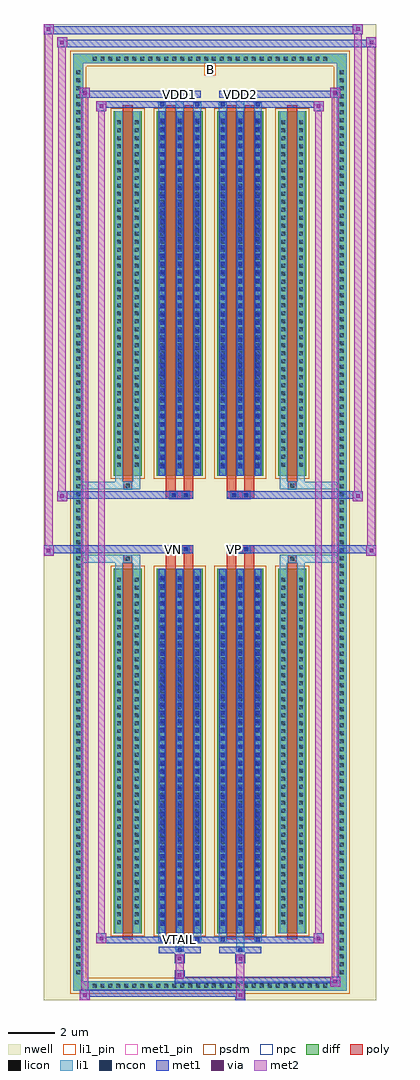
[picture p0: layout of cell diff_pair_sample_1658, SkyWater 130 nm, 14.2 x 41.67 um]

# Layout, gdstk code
import gdstk
lib = gdstk.Library(unit=1e-6, precision=5e-09)
def R(c, l, rs):  # rectangles x0, y0, x1, y1
    for r in rs: c.add(gdstk.rectangle(r[:2], r[2:], *l))
def A(c, l, x, y, w, h, nx, ny, dx, dy):  # array of equal rectangles
    R(c, l, [(x+i*dx, y+j*dy, x+i*dx+w, y+j*dy+h) for i in range(nx) for j in range(ny)])
def P(c, l, *ps):  # polygons
    for p in ps: c.add(gdstk.Polygon(p, *l))
nwell = (64, 20)
diff = (65, 20)
poly = (66, 20)
licon = (66, 44)
li1_pin = (67, 16)
li1 = (67, 20)
mcon = (67, 44)
met1_pin = (68, 16)
met1 = (68, 20)
via = (68, 44)
met2 = (69, 20)
psdm = (94, 20)
npc = (95, 20)

diff_pair_sample_1658 = lib.new_cell('diff_pair_sample_1658')
R(diff_pair_sample_1658, nwell, [(-7.1,-20.4,7.1,21.27), (-4.42,-18.59,-0.01,-0.795), (0.01,-18.59,4.42,-0.795), (-4.42,0.795,-0.01,18.59), (0.01,0.795,4.42,18.59)])
A(diff_pair_sample_1658, diff, -5.135, -20, 0.41, 0.41, 30, 2, 0.34, 39.59)
A(diff_pair_sample_1658, diff, -5.83, -19.415, 0.41, 0.41, 1, 114, 0, 0.34)
A(diff_pair_sample_1658, diff, 5.42, -19.415, 0.41, 0.41, 1, 114, 0, 0.34)
R(diff_pair_sample_1658, diff, [(-5.135,-20,5.135,-19.59), (-5.83,-19.415,-5.42,19.415), (5.42,-19.415,5.83,19.415), (-4.11,-17.545,-2.91,-1.985), (-2.27,-17.545,-0.32,-1.985), (0.32,-17.545,2.27,-1.985), (2.91,-17.545,4.11,-1.985), (-4.11,1.985,-2.91,17.545), (-2.27,1.985,-0.32,17.545), (0.32,1.985,2.27,17.545), (2.91,1.985,4.11,17.545), (-5.135,19.59,5.135,20)])
P(diff_pair_sample_1658, diff, [(5.83,20),(-5.83,20),(-5.83,-19.59),(-5.42,-19.59),(-5.42,19.59),(5.42,19.59),(5.42,-19.59),(-5.42,-19.59),(-5.83,-19.59),(-5.83,-20),(5.83,-20)])
R(diff_pair_sample_1658, poly, [(-3.72,-17.8,-3.3,-1.73), (-1.88,-17.8,-1.46,-1.73), (-1.13,-17.8,-0.71,-1.73), (0.71,-17.8,1.13,-1.73), (1.46,-17.8,1.88,-1.73), (3.3,-17.8,3.72,-1.73), (-3.675,-1.73,-3.345,-1.4), (-3.675,-1.73,-3.345,-1.4), (-1.88,-1.73,-1.46,-1.325), (-1.13,-1.73,-0.71,-1.325), (0.71,-1.73,1.13,-1.325), (1.46,-1.73,1.88,-1.325), (3.345,-1.73,3.675,-1.4), (3.345,-1.73,3.675,-1.4), (-1.88,-1.325,-0.71,-0.995), (-1.71,-1.325,-1.38,-0.995), (-1.21,-1.325,-0.88,-0.995), (0.71,-1.325,1.88,-0.995), (0.88,-1.325,1.21,-0.995), (1.38,-1.325,1.71,-0.995), (-1.88,0.995,-0.71,1.325), (-1.71,0.995,-1.38,1.325), (-1.21,0.995,-0.88,1.325), (0.71,0.995,1.88,1.325), (0.88,0.995,1.21,1.325), (1.38,0.995,1.71,1.325), (-1.88,1.325,-1.46,1.73), (-1.13,1.325,-0.71,1.73), (0.71,1.325,1.13,1.73), (1.46,1.325,1.88,1.73), (-3.675,1.4,-3.345,1.73), (-3.675,1.4,-3.345,1.73), (3.345,1.4,3.675,1.73), (3.345,1.4,3.675,1.73), (-3.72,1.73,-3.3,17.8), (-1.88,1.73,-1.46,17.8), (-1.13,1.73,-0.71,17.8), (0.71,1.73,1.13,17.8), (1.46,1.73,1.88,17.8), (3.3,1.73,3.72,17.8)])
A(diff_pair_sample_1658, licon, -5.015, -19.88, 0.17, 0.17, 30, 2, 0.34, 39.59)
A(diff_pair_sample_1658, licon, -5.71, -19.295, 0.17, 0.17, 1, 114, 0, 0.34)
A(diff_pair_sample_1658, licon, 5.54, -19.295, 0.17, 0.17, 1, 114, 0, 0.34)
A(diff_pair_sample_1658, licon, -3.97, -17.16, 0.17, 0.17, 1, 44, 0, 0.34)
A(diff_pair_sample_1658, licon, -3.22, -17.16, 0.17, 0.17, 1, 44, 0, 0.34)
A(diff_pair_sample_1658, licon, -2.13, -17.16, 0.17, 0.17, 3, 44, 0.75, 0.34)
A(diff_pair_sample_1658, licon, 0.46, -17.16, 0.17, 0.17, 3, 44, 0.75, 0.34)
A(diff_pair_sample_1658, licon, 3.05, -17.16, 0.17, 0.17, 1, 44, 0, 0.34)
A(diff_pair_sample_1658, licon, 3.8, -17.16, 0.17, 0.17, 1, 44, 0, 0.34)
A(diff_pair_sample_1658, licon, -3.97, 2.37, 0.17, 0.17, 1, 44, 0, 0.34)
A(diff_pair_sample_1658, licon, -3.22, 2.37, 0.17, 0.17, 1, 44, 0, 0.34)
A(diff_pair_sample_1658, licon, -2.13, 2.37, 0.17, 0.17, 3, 44, 0.75, 0.34)
A(diff_pair_sample_1658, licon, 0.46, 2.37, 0.17, 0.17, 3, 44, 0.75, 0.34)
A(diff_pair_sample_1658, licon, 3.05, 2.37, 0.17, 0.17, 1, 44, 0, 0.34)
A(diff_pair_sample_1658, licon, 3.8, 2.37, 0.17, 0.17, 1, 44, 0, 0.34)
R(diff_pair_sample_1658, licon, [(-3.595,-1.65,-3.425,-1.48), (3.425,-1.65,3.595,-1.48), (-1.63,-1.245,-1.46,-1.075), (-1.13,-1.245,-0.96,-1.075), (0.96,-1.245,1.13,-1.075), (1.46,-1.245,1.63,-1.075), (-1.63,1.075,-1.46,1.245), (-1.13,1.075,-0.96,1.245), (0.96,1.075,1.13,1.245), (1.46,1.075,1.63,1.245), (-3.595,1.48,-3.425,1.65), (3.425,1.48,3.595,1.65)])
R(diff_pair_sample_1658, li1_pin, [(-0.25,19.09,0.25,19.59)])
A(diff_pair_sample_1658, li1, -5.095, -19.96, 0.33, 0.33, 30, 2, 0.34, 39.59)
A(diff_pair_sample_1658, li1, -5.79, -19.375, 0.33, 0.33, 1, 114, 0, 0.34)
A(diff_pair_sample_1658, li1, 5.46, -19.375, 0.33, 0.33, 1, 114, 0, 0.34)
A(diff_pair_sample_1658, li1, -2.21, -17.545, 0.33, 15.56, 3, 2, 0.75, 19.53)
A(diff_pair_sample_1658, li1, 0.38, -17.545, 0.33, 15.56, 3, 2, 0.75, 19.53)
A(diff_pair_sample_1658, li1, -4.05, -17.24, 0.33, 0.33, 1, 44, 0, 0.34)
A(diff_pair_sample_1658, li1, -3.3, -17.24, 0.33, 0.33, 1, 44, 0, 0.34)
A(diff_pair_sample_1658, li1, -2.21, -17.24, 0.33, 0.33, 3, 44, 0.75, 0.34)
A(diff_pair_sample_1658, li1, 0.38, -17.24, 0.33, 0.33, 3, 44, 0.75, 0.34)
A(diff_pair_sample_1658, li1, 2.97, -17.24, 0.33, 0.33, 1, 44, 0, 0.34)
A(diff_pair_sample_1658, li1, 3.72, -17.24, 0.33, 0.33, 1, 44, 0, 0.34)
A(diff_pair_sample_1658, li1, -2.13, -17.23, 0.17, 0.17, 3, 42, 0.75, 0.36)
A(diff_pair_sample_1658, li1, -2.13, -17.23, 0.17, 14.93, 3, 2, 0.75, 19.53)
A(diff_pair_sample_1658, li1, 0.46, -17.23, 0.17, 0.17, 3, 42, 0.75, 0.36)
A(diff_pair_sample_1658, li1, 0.46, -17.23, 0.17, 14.93, 3, 2, 0.75, 19.53)
A(diff_pair_sample_1658, li1, -4.05, 2.29, 0.33, 0.33, 1, 44, 0, 0.34)
A(diff_pair_sample_1658, li1, -3.3, 2.29, 0.33, 0.33, 1, 44, 0, 0.34)
A(diff_pair_sample_1658, li1, -2.21, 2.29, 0.33, 0.33, 3, 44, 0.75, 0.34)
A(diff_pair_sample_1658, li1, 0.38, 2.29, 0.33, 0.33, 3, 44, 0.75, 0.34)
A(diff_pair_sample_1658, li1, 2.97, 2.29, 0.33, 0.33, 1, 44, 0, 0.34)
A(diff_pair_sample_1658, li1, 3.72, 2.29, 0.33, 0.33, 1, 44, 0, 0.34)
A(diff_pair_sample_1658, li1, -2.13, 2.3, 0.17, 0.17, 3, 42, 0.75, 0.36)
A(diff_pair_sample_1658, li1, 0.46, 2.3, 0.17, 0.17, 3, 42, 0.75, 0.36)
R(diff_pair_sample_1658, li1, [(-5.83,-20,-5.42,-19.59), (-5.83,-20,-5.42,-19.59), (-5.42,-20,5.42,-19.59), (5.42,-20,5.83,-19.59), (5.42,-20,5.83,-19.59), (-5.83,-19.59,-5.42,19.59), (5.42,-19.59,5.83,19.59), (-1.46,-18.35,-1.13,-17.545), (-1.38,-18.35,-1.21,-18.18), (1.13,-18.35,1.46,-17.545), (1.21,-18.35,1.38,-18.18), (-2.21,-17.92,-1.88,-17.545), (-2.13,-17.92,-1.96,-17.75), (-0.71,-17.92,-0.38,-17.545), (-0.63,-17.92,-0.46,-17.75), (0.38,-17.92,0.71,-17.545), (0.46,-17.92,0.63,-17.75), (1.88,-17.92,2.21,-17.545), (1.96,-17.92,2.13,-17.75), (-4.05,-17.545,-3.72,-1.985), (-3.3,-17.545,-2.97,-1.985), (2.97,-17.545,3.3,-1.985), (3.72,-17.545,4.05,-1.985), (-4.05,-1.985,-3.72,-1.4), (-3.3,-1.985,-2.97,-1.4), (2.97,-1.985,3.3,-1.4), (3.72,-1.985,4.05,-1.4), (-5.83,-1.73,-3.675,-1.4), (-4.05,-1.73,-3.675,-1.4), (-3.675,-1.73,-3.345,-1.4), (-3.345,-1.73,-2.97,-1.4), (2.97,-1.73,3.345,-1.4), (3.345,-1.73,3.675,-1.4), (3.345,-1.73,5.83,-1.4), (3.675,-1.73,4.05,-1.4), (-1.71,-1.325,-1.38,-0.995), (-1.21,-1.325,-0.88,-0.995), (0.88,-1.325,1.21,-0.995), (1.38,-1.325,1.71,-0.995), (-1.71,0.995,-1.38,1.325), (-1.21,0.995,-0.88,1.325), (0.88,0.995,1.21,1.325), (1.38,0.995,1.71,1.325), (-5.83,1.4,-3.675,1.73), (-4.05,1.4,-3.675,1.73), (-4.05,1.4,-3.72,1.985), (-3.675,1.4,-3.345,1.73), (-3.345,1.4,-2.97,1.73), (-3.3,1.4,-2.97,1.985), (2.97,1.4,3.345,1.73), (2.97,1.4,3.3,1.985), (3.345,1.4,3.675,1.73), (3.345,1.4,5.83,1.73), (3.675,1.4,4.05,1.73), (3.72,1.4,4.05,1.985), (-4.05,1.985,-3.72,17.545), (-3.3,1.985,-2.97,17.545), (2.97,1.985,3.3,17.545), (3.72,1.985,4.05,17.545), (-2.21,17.545,-1.88,17.92), (-1.46,17.545,-1.13,18.35), (-0.71,17.545,-0.38,17.92), (0.38,17.545,0.71,17.92), (1.13,17.545,1.46,18.35), (1.88,17.545,2.21,17.92), (-2.13,17.75,-1.96,17.92), (-0.63,17.75,-0.46,17.92), (0.46,17.75,0.63,17.92), (1.96,17.75,2.13,17.92), (-1.38,18.18,-1.21,18.35), (1.21,18.18,1.38,18.35), (-5.83,19.59,-5.42,20), (-5.83,19.59,-5.42,20), (-5.42,19.59,5.42,20), (5.42,19.59,5.83,20), (5.42,19.59,5.83,20)])
A(diff_pair_sample_1658, mcon, -2.13, -17.23, 0.17, 0.17, 3, 42, 0.75, 0.36)
A(diff_pair_sample_1658, mcon, 0.46, -17.23, 0.17, 0.17, 3, 42, 0.75, 0.36)
A(diff_pair_sample_1658, mcon, -2.13, 2.3, 0.17, 0.17, 3, 42, 0.75, 0.36)
A(diff_pair_sample_1658, mcon, 0.46, 2.3, 0.17, 0.17, 3, 42, 0.75, 0.36)
R(diff_pair_sample_1658, mcon, [(-1.38,-18.35,-1.21,-18.18), (1.21,-18.35,1.38,-18.18), (-2.13,-17.92,-1.96,-17.75), (-0.63,-17.92,-0.46,-17.75), (0.46,-17.92,0.63,-17.75), (1.96,-17.92,2.13,-17.75), (-1.63,-1.245,-1.46,-1.075), (-1.13,-1.245,-0.96,-1.075), (0.96,-1.245,1.13,-1.075), (1.46,-1.245,1.63,-1.075), (-1.63,1.075,-1.46,1.245), (-1.13,1.075,-0.96,1.245), (0.96,1.075,1.13,1.245), (1.46,1.075,1.63,1.245), (-2.13,17.75,-1.96,17.92), (-0.63,17.75,-0.46,17.92), (0.46,17.75,0.63,17.92), (1.96,17.75,2.13,17.92), (-1.38,18.18,-1.21,18.35), (1.21,18.18,1.38,18.35)])
R(diff_pair_sample_1658, met1_pin, [(-1.43,-17.96,-1.16,-17.69), (-1.68,-1.285,-1.41,-1.015), (0.91,-1.285,1.18,-1.015), (-1.43,18.14,-1.16,18.41), (1.16,18.14,1.43,18.41)])
A(diff_pair_sample_1658, met1, -2.19, -17.545, 0.29, 15.56, 3, 2, 0.75, 19.53)
A(diff_pair_sample_1658, met1, 0.4, -17.545, 0.29, 15.56, 3, 2, 0.75, 19.53)
A(diff_pair_sample_1658, met1, -2.19, -17.29, 0.29, 0.29, 3, 42, 0.75, 0.36)
A(diff_pair_sample_1658, met1, 0.4, -17.29, 0.29, 0.29, 3, 42, 0.75, 0.36)
A(diff_pair_sample_1658, met1, -2.19, 2.24, 0.29, 0.29, 3, 42, 0.75, 0.36)
A(diff_pair_sample_1658, met1, 0.4, 2.24, 0.29, 0.29, 3, 42, 0.75, 0.36)
R(diff_pair_sample_1658, met1, [(-5.56,-20.4,-5.13,-19.97), (1.08,-20.4,1.51,-19.97), (-5.56,-20.26,1.51,-19.97), (5.13,-19.83,5.56,-19.4), (-1.51,-19.69,5.56,-19.4), (-1.51,-19.55,-1.08,-19.12), (-1.51,-18.84,-1.08,-18.41), (1.08,-18.84,1.51,-18.41), (-2.19,-18.41,-0.4,-18.12), (-1.44,-18.41,-1.15,-18.12), (0.4,-18.41,2.19,-18.12), (1.15,-18.41,1.44,-18.12), (-4.85,-17.98,-4.42,-17.55), (-4.85,-17.98,-2.19,-17.69), (-2.19,-17.98,-1.9,-17.69), (-2.19,-17.98,-0.4,-17.69), (-0.69,-17.98,-0.4,-17.69), (-0.4,-17.98,0.4,-17.69), (0.4,-17.98,0.69,-17.69), (0.4,-17.98,2.19,-17.69), (1.9,-17.98,2.19,-17.69), (2.19,-17.98,4.85,-17.69), (4.42,-17.98,4.85,-17.55), (-7.1,-1.425,-6.67,-0.995), (6.67,-1.425,7.1,-0.995), (-7.1,-1.325,-0.71,-0.995), (-1.88,-1.325,-0.71,-0.995), (0.71,-1.325,1.88,-0.995), (0.71,-1.325,7.1,-0.995), (-1.69,-1.305,-1.4,-1.015), (-1.19,-1.305,-0.9,-1.015), (0.9,-1.305,1.19,-1.015), (1.4,-1.305,1.69,-1.015), (-6.53,0.895,-6.1,1.325), (6.1,0.895,6.53,1.325), (-6.53,0.995,-1.88,1.325), (-1.88,0.995,-0.71,1.325), (0.71,0.995,1.88,1.325), (1.88,0.995,6.53,1.325), (-1.69,1.015,-1.4,1.305), (-1.19,1.015,-0.9,1.305), (0.9,1.015,1.19,1.305), (1.4,1.015,1.69,1.305), (-4.85,17.55,-4.42,17.98), (4.42,17.55,4.85,17.98), (-4.85,17.69,-2.19,17.98), (-2.19,17.69,-1.9,17.98), (-2.19,17.69,-0.4,17.98), (-0.69,17.69,-0.4,17.98), (-0.4,17.69,0.4,17.98), (0.4,17.69,0.69,17.98), (0.4,17.69,2.19,17.98), (1.9,17.69,2.19,17.98), (2.19,17.69,4.85,17.98), (-5.56,18.12,-5.13,18.55), (-5.56,18.12,-2.19,18.41), (-2.19,18.12,-0.4,18.41), (-1.44,18.12,-1.15,18.41), (0.4,18.12,2.19,18.41), (1.15,18.12,1.44,18.41), (2.19,18.12,5.56,18.41), (5.13,18.12,5.56,18.55), (-6.53,20.27,-6.1,20.7), (-6.53,20.27,-4.42,20.6), (-4.42,20.27,4.42,20.6), (4.42,20.27,7.1,20.6), (6.67,20.27,7.1,20.7), (-7.1,20.84,-6.67,21.27), (-7.1,20.84,-4.42,21.17), (-4.42,20.84,4.42,21.17), (4.42,20.84,6.53,21.17), (6.1,20.84,6.53,21.27)])
R(diff_pair_sample_1658, via, [(-5.42,-20.26,-5.27,-20.11), (1.22,-20.26,1.37,-20.11), (5.27,-19.69,5.42,-19.54), (-1.37,-19.41,-1.22,-19.26), (-1.37,-18.7,-1.22,-18.55), (1.22,-18.7,1.37,-18.55), (-4.71,-17.84,-4.56,-17.69), (4.56,-17.84,4.71,-17.69), (-6.96,-1.285,-6.81,-1.135), (6.81,-1.285,6.96,-1.135), (-6.39,1.035,-6.24,1.185), (6.24,1.035,6.39,1.185), (-4.71,17.69,-4.56,17.84), (4.56,17.69,4.71,17.84), (-5.42,18.26,-5.27,18.41), (5.27,18.26,5.42,18.41), (-6.39,20.41,-6.24,20.56), (6.81,20.41,6.96,20.56), (-6.96,20.98,-6.81,21.13), (6.24,20.98,6.39,21.13)])
R(diff_pair_sample_1658, met2, [(-5.56,-20.4,-5.13,-19.97), (-5.49,-20.4,-5.2,18.55), (-5.2,-20.4,-5.13,-19.97), (-5.51,-20.35,-5.18,-20.02), (1.13,-20.35,1.46,-20.02), (1.13,-20.02,1.46,-18.79), (5.13,-19.83,5.56,-19.4), (5.2,-19.83,5.49,18.55), (5.49,-19.83,5.56,-19.4), (5.18,-19.78,5.51,-19.45), (-1.46,-19.5,-1.13,-19.17), (-1.46,-19.17,-1.13,-18.79), (-1.46,-18.79,-1.13,-18.46), (1.13,-18.79,1.46,-18.46), (-4.85,-17.98,-4.42,-17.55), (-4.78,-17.98,-4.49,17.98), (-4.49,-17.98,-4.42,-17.55), (4.42,-17.98,4.85,-17.55), (4.49,-17.98,4.78,17.98), (4.78,-17.98,4.85,-17.55), (-4.8,-17.93,-4.47,-17.6), (4.47,-17.93,4.8,-17.6), (-7.1,-1.425,-6.67,-0.995), (-7.05,-1.425,-6.72,21.27), (-6.72,-1.425,-6.67,-0.995), (6.67,-1.425,7.1,-0.995), (6.72,-1.425,7.05,20.7), (7.05,-1.425,7.1,-0.995), (-7.05,-1.375,-6.72,-1.045), (6.72,-1.375,7.05,-1.045), (-6.53,0.895,-6.1,1.325), (-6.48,0.895,-6.15,20.7), (-6.15,0.895,-6.1,1.325), (6.1,0.895,6.53,1.325), (6.15,0.895,6.48,21.27), (6.48,0.895,6.53,1.325), (-6.48,0.945,-6.15,1.275), (6.15,0.945,6.48,1.275), (-4.85,17.55,-4.42,17.98), (-4.49,17.55,-4.42,17.98), (4.42,17.55,4.85,17.98), (4.78,17.55,4.85,17.98), (-4.8,17.6,-4.47,17.93), (4.47,17.6,4.8,17.93), (-5.56,18.12,-5.13,18.55), (-5.2,18.12,-5.13,18.55), (5.13,18.12,5.56,18.55), (5.49,18.12,5.56,18.55), (-5.51,18.17,-5.18,18.5), (5.18,18.17,5.51,18.5), (-6.53,20.27,-6.1,20.7), (-6.15,20.27,-6.1,20.7), (6.67,20.27,7.1,20.7), (7.05,20.27,7.1,20.7), (-6.48,20.32,-6.15,20.65), (6.72,20.32,7.05,20.65), (-7.1,20.84,-6.67,21.27), (-6.72,20.84,-6.67,21.27), (6.1,20.84,6.53,21.27), (6.48,20.84,6.53,21.27), (-7.05,20.89,-6.72,21.22), (6.15,20.89,6.48,21.22)])
R(diff_pair_sample_1658, psdm, [(-4.24,-17.675,-2.78,-1.855), (-2.4,-17.675,-0.19,-1.855), (0.19,-17.675,2.4,-1.855), (2.78,-17.675,4.24,-1.855), (-4.24,1.855,-2.78,17.675), (-2.4,1.855,-0.19,17.675), (0.19,1.855,2.4,17.675), (2.78,1.855,4.24,17.675)])
P(diff_pair_sample_1658, psdm, [(5.96,20.13),(-5.96,20.13),(-5.96,-19.46),(-5.29,-19.46),(-5.29,19.46),(5.29,19.46),(5.29,-19.46),(-5.29,-19.46),(-5.96,-19.46),(-5.96,-20.13),(5.96,-20.13)])
R(diff_pair_sample_1658, npc, [(-3.695,-1.75,-3.325,-1.38), (3.325,-1.75,3.695,-1.38), (-1.73,-1.345,-1.36,-0.975), (-1.73,-1.345,-0.86,-0.975), (-1.73,-1.345,-0.86,-0.975), (-1.23,-1.345,-0.86,-0.975), (0.86,-1.345,1.23,-0.975), (0.86,-1.345,1.73,-0.975), (0.86,-1.345,1.73,-0.975), (1.36,-1.345,1.73,-0.975), (-1.73,0.975,-1.36,1.345), (-1.73,0.975,-0.86,1.345), (-1.73,0.975,-0.86,1.345), (-1.23,0.975,-0.86,1.345), (0.86,0.975,1.23,1.345), (0.86,0.975,1.73,1.345), (0.86,0.975,1.73,1.345), (1.36,0.975,1.73,1.345), (-3.695,1.38,-3.325,1.75), (3.325,1.38,3.695,1.75)])
diff_pair_sample_1658.add(gdstk.Label('VTAIL', (-1.295,-17.825), layer=68, texttype=5))
diff_pair_sample_1658.add(gdstk.Label('VN', (-1.545,-1.15), layer=68, texttype=5))
diff_pair_sample_1658.add(gdstk.Label('VP', (1.045,-1.15), layer=68, texttype=5))
diff_pair_sample_1658.add(gdstk.Label('B', (0,19.34), layer=67, texttype=5))
diff_pair_sample_1658.add(gdstk.Label('VDD2', (1.295,18.275), layer=68, texttype=5))
diff_pair_sample_1658.add(gdstk.Label('VDD1', (-1.295,18.275), layer=68, texttype=5))

lib.write_gds('diff_pair_sample_1658.gds')
